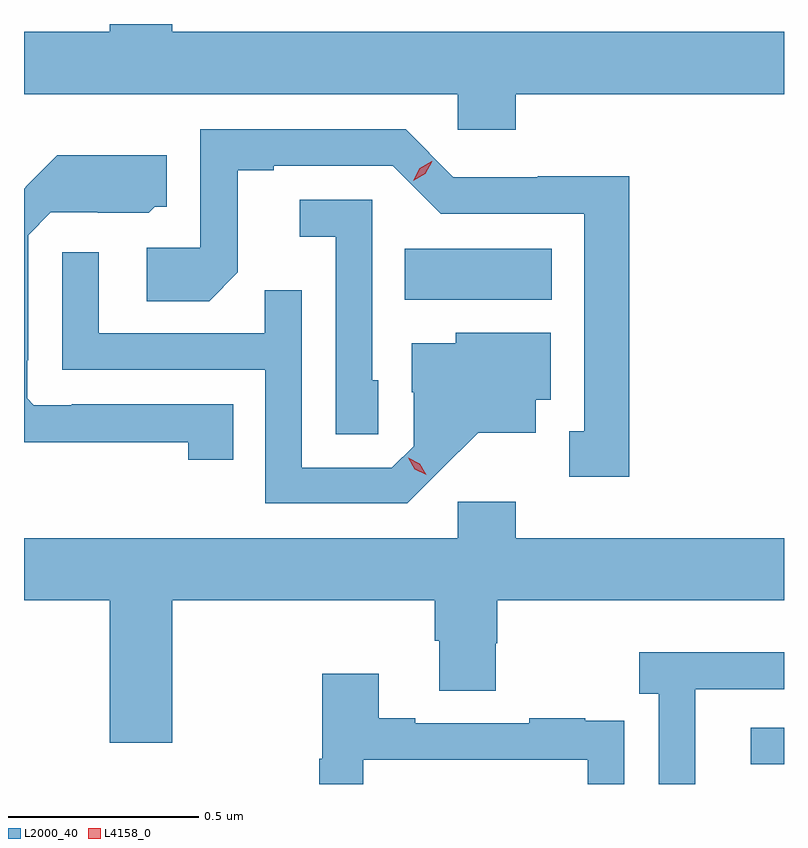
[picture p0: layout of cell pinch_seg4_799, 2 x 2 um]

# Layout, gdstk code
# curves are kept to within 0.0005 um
import gdstk
lib = gdstk.Library(unit=1e-6, precision=1e-09)
def R(c, l, rs):  # rectangles x0, y0, x1, y1
    for r in rs: c.add(gdstk.rectangle(r[:2], r[2:], *l))
def P(c, l, *ps):  # polygons
    for p in ps: c.add(gdstk.Polygon(p, *l))
L2000_40 = (2000, 40)
L4158_0 = (4158, 0)

pinch_seg4_799 = lib.new_cell('pinch_seg4_799')
R(pinch_seg4_799, L2000_40, [(802.059,828.357,802.146,828.453), (801.148,829.58,801.535,829.714)])
P(pinch_seg4_799, L2000_40, [(801.44,830.12),(802.146,830.12),(802.146,830.284),(800.536,830.284),(800.536,830.305),(800.372,830.305),(800.372,830.284),(800.146,830.284),(800.146,830.12),(801.288,830.12),(801.288,830.027),(801.44,830.027)],
  [(801.739,829.904),(801.498,829.904),(801.498,829.902),(801.276,829.902),(801.15,830.028),(800.61,830.028),(800.61,829.716),(800.469,829.716),(800.469,829.576),(800.633,829.576),(800.709,829.652),(800.709,829.92),(800.803,829.92),(800.803,829.932),(801.117,829.932),(801.243,829.806),(801.62,829.806),(801.62,829.233),(801.581,829.233),(801.581,829.113),(801.739,829.113)],
  [(800.696,829.305),(800.272,829.305),(800.272,829.302),(800.172,829.302),(800.154,829.32),(800.154,829.42),(800.157,829.42),(800.157,829.749),(800.217,829.809),(800.34,829.809),(800.34,829.808),(800.474,829.808),(800.49,829.824),(800.521,829.824),(800.521,829.96),(800.233,829.96),(800.146,829.872),(800.146,829.205),(800.221,829.205),(800.221,829.204),(800.578,829.204),(800.578,829.158),(800.696,829.158)],
  [(801.078,829.368),(801.063,829.368),(801.063,829.842),(800.871,829.842),(800.871,829.745),(800.967,829.745),(800.967,829.225),(801.078,829.225)],
  [(801.238,829.127),(801.341,829.229),(801.493,829.229),(801.493,829.316),(801.532,829.316),(801.532,829.492),(801.282,829.492),(801.282,829.465),(801.167,829.465),(801.167,829.336),(801.171,829.336),(801.171,829.194),(801.114,829.137),(800.877,829.137),(800.877,829.604),(800.779,829.604),(800.779,829.491),(800.343,829.491),(800.343,829.705),(800.247,829.705),(800.247,829.395),(800.781,829.395),(800.781,829.044),(801.154,829.044)],
  [(800.536,828.788),(801.227,828.788),(801.227,828.682),(801.239,828.682),(801.239,828.55),(801.387,828.55),(801.387,828.675),(801.392,828.675),(801.392,828.788),(802.146,828.788),(802.146,828.952),(801.44,828.952),(801.44,829.048),(801.288,829.048),(801.288,828.952),(800.146,828.952),(800.146,828.788),(800.372,828.788),(800.372,828.414),(800.536,828.414)],
  [(801.912,828.355),(801.913,828.355),(801.913,828.555),(802.146,828.555),(802.146,828.652),(801.765,828.652),(801.765,828.542),(801.816,828.542),(801.816,828.305),(801.912,828.305)],
  [(801.039,828.369),(801.63,828.369),(801.63,828.305),(801.726,828.305),(801.726,828.362),(801.725,828.362),(801.725,828.471),(801.623,828.471),(801.623,828.478),(801.475,828.478),(801.475,828.465),(801.175,828.465),(801.175,828.478),(801.079,828.478),(801.079,828.595),(800.931,828.595),(800.931,828.372),(800.923,828.372),(800.923,828.305),(801.039,828.305)])
P(pinch_seg4_799, L4158_0, [(801.205,829.119),(801.174,829.133),(801.157,829.163),(801.157,829.163),(801.157,829.163),(801.188,829.148),(801.205,829.119),(801.205,829.119)],
  [(801.17,829.892),(801.17,829.893),(801.187,829.925),(801.219,829.944),(801.22,829.944),(801.22,829.944),(801.202,829.911),(801.17,829.892)])

lib.write_gds('pinch_seg4_799.gds')
